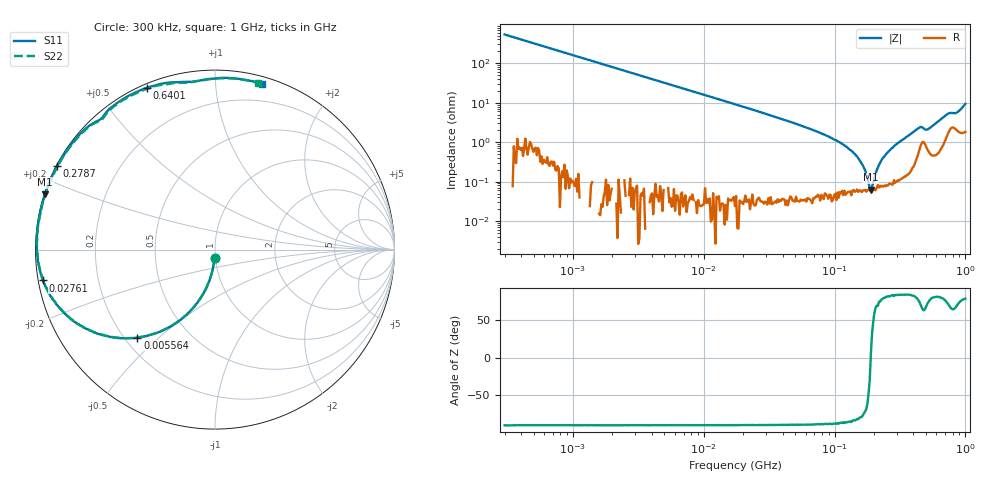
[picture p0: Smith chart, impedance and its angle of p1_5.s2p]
#  HZ  S  RI  R  50
! Rohde & Schwarz ZVA/B
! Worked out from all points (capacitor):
!   401 points, 300 kHz to 1 GHz, reference 50 ohm
!   read as one part in shunt: C = 993 pF near 312.4 kHz
!   lowest |Z| = 62.6 mohm at 189.6 MHz (marker M1)
!   series resonance near 188.9 MHz, so ESL is about 710 pH
!   S11 on the Smith chart (normalised r, x): 300 kHz: 0.99, -0.09; 5.564 MHz: 0.25, -0.43; 27.61 MHz: 0.01, -0.09; 278.7 MHz: 0.00, +0.25; 640.1 MHz: 0.02, +0.66; 1 GHz: 0.06, +1.32
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300000  -0.00176 -0.0464  0.9973 -0.0471  0.998 -0.0471  -0.00211 -0.0456
1167356  -0.0322 -0.1757  0.9679 -0.1773  0.9681 -0.1779  -0.0329 -0.1755
2472121  -0.1308 -0.334  0.8701 -0.3377  0.8695 -0.3395  -0.1301 -0.3342
4542403  -0.3371 -0.4686  0.6635 -0.4762  0.6625 -0.4753  -0.3362 -0.4682
5563622  -0.4321 -0.4908  0.567 -0.4995  0.5666 -0.5002  -0.4339 -0.4897
8869990  -0.6645 -0.4648  0.3359 -0.4799  0.3361 -0.4793  -0.6626 -0.4625
1.732051e7  -0.8885 -0.2974  0.1099 -0.3265  0.1101 -0.3266  -0.887 -0.2956
2.76138e7  -0.9571 -0.1716  0.0404 -0.2182  0.041 -0.218  -0.9578 -0.1719
6.739735e7  -0.9931 0.028  -0.00128 -0.0824  -0.000649 -0.0825  -0.9915 0.0301
1.074505e8  -0.9864 0.1363  -0.00402 -0.0404  -0.00371 -0.0402  -0.9839 0.1373
1.398627e8  -0.9736 0.2078  -0.00199 -0.0209  -0.00226 -0.021  -0.9714 0.2092
1.644976e8  -0.9631 0.2574  -0.000308 -0.0101  -0.000395 -0.0101  -0.9599 0.2591
1.82052e8  -0.9527 0.2925  0.00156 -0.00318  0.00178 -0.0033  -0.9495 0.2923
1.895876e8  -0.9465 0.3073  0.00238 -0.000482  0.0025 -0.000593  -0.9448 0.3078
1.97435e8  -0.9434 0.3205  0.00316 0.00176  0.00326 0.00173  -0.9387 0.3224
2.229808e8  -0.9252 0.3685  0.00695 0.00926  0.00669 0.00944  -0.9212 0.3688
2.622557e8  -0.8941 0.4379  0.0131 0.0191  0.0129 0.0193  -0.8893 0.4385
2.787062e8  -0.8789 0.4655  0.0154 0.0224  0.0157 0.023  -0.8752 0.4657
4.354165e8  -0.6861 0.6996  0.0632 0.0394  0.0633 0.0392  -0.6829 0.698
5.121091e8  -0.5969 0.7749  0.0619 0.0228  0.0615 0.0225  -0.5947 0.7695
6.400909e8  -0.3792 0.9026  0.0972 0.0242  0.097 0.0246  -0.3828 0.895
1e9  0.2628 0.9233  0.1198 -0.0533  0.12 -0.0538  0.2407 0.9282
